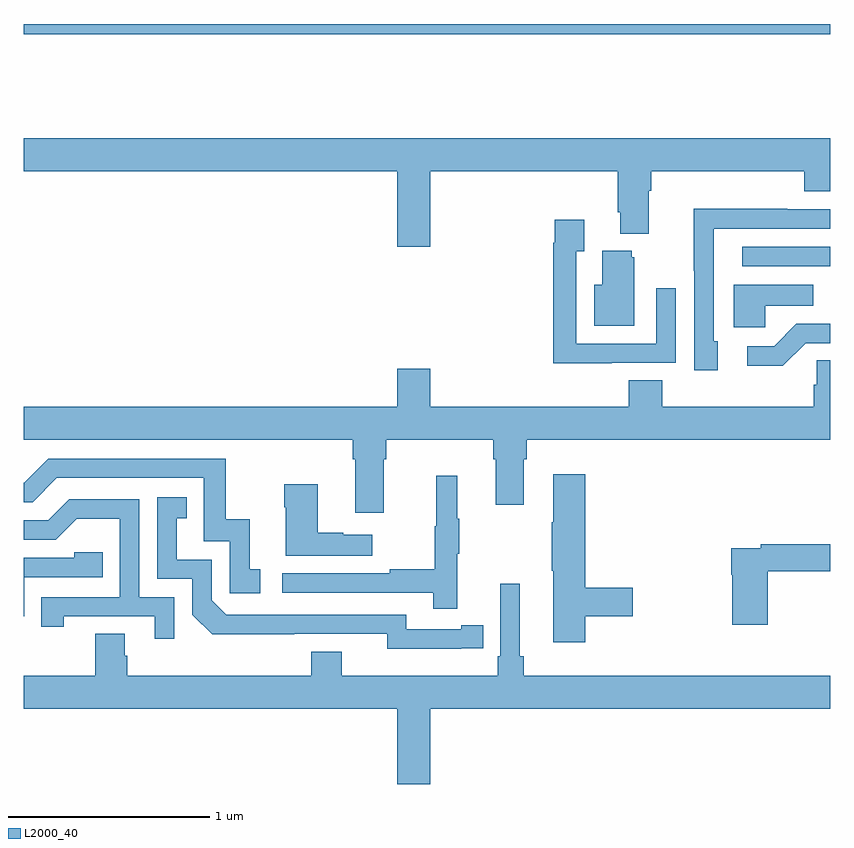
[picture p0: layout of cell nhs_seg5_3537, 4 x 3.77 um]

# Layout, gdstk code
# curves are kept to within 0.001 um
import gdstk
lib = gdstk.Library(unit=1e-6, precision=1e-09)
def R(c, l, rs):  # rectangles x0, y0, x1, y1
    for r in rs: c.add(gdstk.rectangle(r[:2], r[2:], *l))
def P(c, l, *ps):  # polygons
    for p in ps: c.add(gdstk.Polygon(p, *l))
L2000_40 = (2000, 40)

nhs_seg5_3537 = lib.new_cell('nhs_seg5_3537')
R(nhs_seg5_3537, L2000_40, [(322.563,881.598,323,881.694), (319,882.748,323,882.799)])
P(nhs_seg5_3537, L2000_40, [(321.016,882.068),(321.947,882.068),(321.947,881.866),(321.959,881.866),(321.959,881.759),(322.099,881.759),(322.099,881.972),(322.112,881.972),(322.112,882.068),(322.871,882.068),(322.871,881.969),(323,881.969),(323,882.232),(319,882.232),(319,882.068),(320.852,882.068),(320.852,881.694),(321.016,881.694)],
  [(322.441,881.226),(322.422,881.226),(322.422,881.53),(322.423,881.53),(322.423,881.784),(323,881.784),(323,881.88),(322.787,881.88),(322.787,881.882),(322.324,881.882),(322.324,881.575),(322.326,881.575),(322.326,881.082),(322.441,881.082)],
  [(321.917,881.118),(322.233,881.118),(322.233,881.488),(322.137,881.488),(322.137,881.214),(321.741,881.214),(321.741,881.671),(321.781,881.671),(321.781,881.827),(321.633,881.827),(321.633,881.714),(321.625,881.714),(321.625,881.117),(321.917,881.117)],
  [(322.027,881.643),(322.016,881.643),(322.016,881.674),(321.869,881.674),(321.869,881.506),(321.83,881.506),(321.83,881.303),(322.027,881.303)],
  [(322.677,881.402),(322.916,881.402),(322.916,881.506),(322.52,881.506),(322.52,881.294),(322.677,881.294)],
  [(322.878,881.217),(323,881.217),(323,881.313),(322.832,881.313),(322.721,881.202),(322.587,881.202),(322.587,881.105),(322.765,881.105)],
  [(320.785,880.64),(320.798,880.64),(320.798,880.736),(321.329,880.736),(321.329,880.64),(321.341,880.64),(321.341,880.416),(321.481,880.416),(321.481,880.64),(321.494,880.64),(321.494,880.736),(323,880.736),(323,881.132),(322.932,881.132),(322.932,881.009),(322.919,881.009),(322.919,880.9),(322.166,880.9),(322.166,881.033),(322.001,881.033),(322.001,880.9),(321.016,880.9),(321.016,881.089),(320.852,881.089),(320.852,880.9),(319,880.9),(319,880.736),(320.633,880.736),(320.633,880.64),(320.645,880.64),(320.645,880.374),(320.785,880.374)],
  [(320.173,880.095),(320.12,880.095),(320.12,880.342),(320.002,880.342),(320.002,880.644),(319.122,880.644),(319.002,880.524),(319,880.524),(319,880.428),(319.044,880.428),(319.164,880.548),(319.893,880.548),(319.893,880.233),(320.022,880.233),(320.022,879.975),(320.173,879.975)],
  [(321.785,879.862),(322.021,879.862),(322.021,880.004),(321.785,880.004),(321.785,880.567),(321.626,880.567),(321.626,880.328),(321.619,880.328),(321.619,880.087),(321.626,880.087),(321.626,879.732),(321.785,879.732)],
  [(321.149,880.171),(321.16,880.171),(321.16,880.345),(321.149,880.345),(321.149,880.558),(321.046,880.558),(321.046,880.308),(321.039,880.308),(321.039,880.094),(320.815,880.094),(320.815,880.074),(320.283,880.074),(320.283,879.978),(321.031,879.978),(321.031,879.9),(321.149,879.9)],
  [(320.728,880.267),(320.585,880.267),(320.585,880.277),(320.458,880.277),(320.458,880.516),(320.293,880.516),(320.293,880.403),(320.3,880.403),(320.3,880.163),(320.728,880.163)],
  [(321.17,879.702),(321.278,879.702),(321.278,879.818),(321.17,879.818),(321.17,879.798),(320.898,879.798),(320.898,879.87),(320.004,879.87),(319.932,879.942),(319.932,880.143),(319.759,880.143),(319.759,880.347),(319.808,880.347),(319.808,880.453),(319.662,880.453),(319.662,880.047),(319.836,880.047),(319.836,879.87),(319.934,879.773),(320.802,879.774),(320.802,879.701)],
  [(319.746,879.957),(319.572,879.957),(319.572,880.443),(319.226,880.443),(319.121,880.338),(319,880.338),(319,880.242),(319.158,880.242),(319.262,880.346),(319.476,880.346),(319.476,879.957),(319.087,879.957),(319.087,879.81),(319.198,879.81),(319.198,879.861),(319.649,879.861),(319.649,879.75),(319.746,879.75)],
  [(322.691,880.084),(323,880.084),(323,880.22),(322.654,880.22),(322.654,880.2),(322.508,880.2),(322.508,880.067),(322.513,880.067),(322.513,879.819),(322.691,879.819)],
  [(319.002,880.056),(319.391,880.056),(319.391,880.179),(319.251,880.179),(319.251,880.152),(319,880.152),(319,879.861),(319.002,879.861)],
  [(319.501,879.666),(319.501,879.776),(319.354,879.776),(319.354,879.568),(319,879.568),(319,879.404),(320.852,879.404),(320.852,879.03),(321.016,879.03),(321.016,879.404),(323,879.404),(323,879.568),(321.479,879.568),(321.479,879.664),(321.46,879.664),(321.46,880.024),(321.363,880.024),(321.363,879.664),(321.35,879.664),(321.35,879.568),(320.578,879.568),(320.578,879.685),(320.426,879.685),(320.426,879.568),(319.514,879.568),(319.514,879.666)])

lib.write_gds('nhs_seg5_3537.gds')
